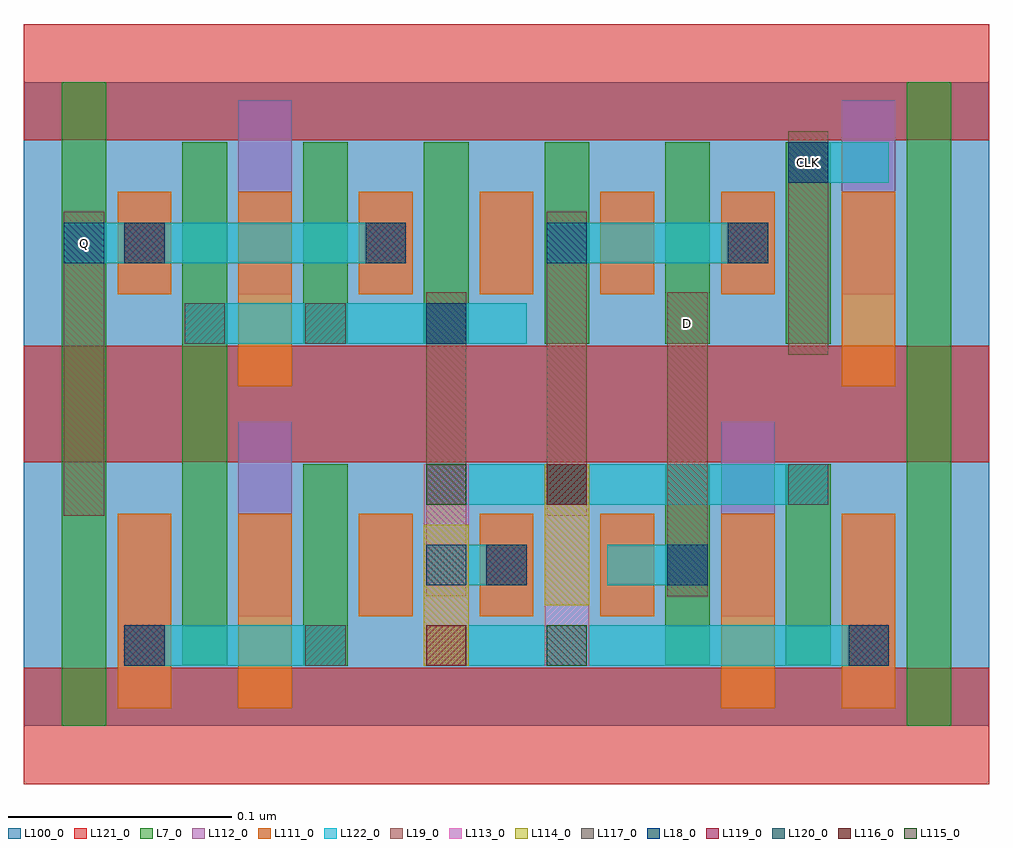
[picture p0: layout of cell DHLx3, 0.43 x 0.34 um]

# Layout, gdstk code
import gdstk
lib = gdstk.Library(unit=1e-6, precision=2.5e-10)
def R(c, l, rs):  # rectangles x0, y0, x1, y1
    for r in rs: c.add(gdstk.rectangle(r[:2], r[2:], *l))
def A(c, l, x, y, w, h, nx, ny, dx, dy):  # array of equal rectangles
    R(c, l, [(x+i*dx, y+j*dy, x+i*dx+w, y+j*dy+h) for i in range(nx) for j in range(ny)])
L7_0 = (7, 0)
L18_0 = (18, 0)
L19_0 = (19, 0)
L100_0 = (100, 0)
L111_0 = (111, 0)
L112_0 = (112, 0)
L113_0 = (113, 0)
L114_0 = (114, 0)
L115_0 = (115, 0)
L116_0 = (116, 0)
L117_0 = (117, 0)
L119_0 = (119, 0)
L120_0 = (120, 0)
L121_0 = (121, 0)
L122_0 = (122, 0)

dhlx3 = lib.new_cell('DHLx3')
A(dhlx3, L7_0, 0.125, 0.171, 0.02, 0.09, 5, 1, 0.054, 0)
R(dhlx3, L7_0, [(0.017,0,0.037,0.144), (0.395,0,0.415,0.144), (0.071,0.027,0.091,0.144), (0.125,0.027,0.145,0.117), (0.287,0.027,0.307,0.117), (0.341,0.027,0.361,0.117), (0.017,0.144,0.037,0.288), (0.071,0.144,0.091,0.261), (0.395,0.144,0.415,0.288)])
R(dhlx3, L18_0, [(0.18,0.063,0.198,0.081), (0.288,0.063,0.306,0.081), (0.234,0.099,0.252,0.117), (0.18,0.171,0.198,0.189), (0.018,0.207,0.036,0.225), (0.234,0.207,0.252,0.225), (0.342,0.243,0.36,0.261)])
R(dhlx3, L19_0, [(0.18,0.058,0.198,0.194), (0.288,0.058,0.306,0.194), (0.018,0.094,0.036,0.23), (0.234,0.094,0.252,0.23), (0.342,0.166,0.36,0.266)])
R(dhlx3, L100_0, [(0,0,0.432,0.288)])
A(dhlx3, L111_0, 0.15, 0.049, 0.024, 0.046, 3, 1, 0.054, 0)
A(dhlx3, L111_0, 0.15, 0.193, 0.024, 0.046, 4, 1, 0.054, 0)
R(dhlx3, L111_0, [(0.042,0.008,0.066,0.095), (0.096,0.008,0.12,0.095), (0.312,0.008,0.336,0.095), (0.366,0.008,0.39,0.095), (0.096,0.152,0.12,0.239), (0.366,0.152,0.39,0.239), (0.042,0.193,0.066,0.239)])
A(dhlx3, L112_0, 0.15, 0.049, 0.024, 0.046, 3, 1, 0.054, 0)
A(dhlx3, L112_0, 0.15, 0.193, 0.024, 0.046, 4, 1, 0.054, 0)
R(dhlx3, L112_0, [(0.042,0.008,0.066,0.095), (0.366,0.008,0.39,0.095), (0.096,0.049,0.12,0.136), (0.312,0.049,0.336,0.136), (0.042,0.193,0.066,0.239), (0.096,0.193,0.12,0.28), (0.366,0.193,0.39,0.28)])
R(dhlx3, L113_0, [(0.179,0.027,0.199,0.117), (0.233,0.027,0.253,0.117)])
R(dhlx3, L114_0, [(0.179,0.027,0.199,0.09), (0.233,0.054,0.253,0.117)])
R(dhlx3, L115_0, [(0.234,0.027,0.252,0.045), (0.18,0.099,0.198,0.117)])
R(dhlx3, L116_0, [(0.18,0.027,0.198,0.045), (0.234,0.099,0.252,0.117)])
A(dhlx3, L117_0, 0.072, 0.171, 0.018, 0.018, 3, 1, 0.054, 0)
R(dhlx3, L117_0, [(0.126,0.027,0.144,0.045), (0.288,0.063,0.306,0.081), (0.342,0.099,0.36,0.117), (0.342,0.243,0.36,0.261)])
R(dhlx3, L119_0, [(0.045,0.027,0.063,0.045), (0.369,0.027,0.387,0.045), (0.207,0.063,0.225,0.081), (0.045,0.207,0.063,0.225), (0.153,0.207,0.171,0.225), (0.315,0.207,0.333,0.225)])
R(dhlx3, L120_0, [(0.045,0.027,0.063,0.045), (0.369,0.027,0.387,0.045), (0.207,0.063,0.225,0.081), (0.045,0.207,0.063,0.225), (0.153,0.207,0.171,0.225), (0.315,0.207,0.333,0.225)])
A(dhlx3, L121_0, 0, -0.026, 0.432, 0.052, 1, 3, 0, 0.144)
R(dhlx3, L122_0, [(0.045,0.027,0.144,0.045), (0.18,0.027,0.387,0.045), (0.18,0.063,0.225,0.081), (0.261,0.063,0.306,0.081), (0.18,0.099,0.36,0.117), (0.072,0.171,0.225,0.189), (0.018,0.207,0.171,0.225), (0.234,0.207,0.333,0.225), (0.342,0.243,0.387,0.261)])
dhlx3.add(gdstk.Label('Q', (0.027,0.216), layer=19, texttype=251))
dhlx3.add(gdstk.Label('D', (0.297,0.18), layer=19, texttype=251))
dhlx3.add(gdstk.Label('CLK', (0.351,0.252), layer=19, texttype=251))

lib.write_gds('DHLx3.gds')
